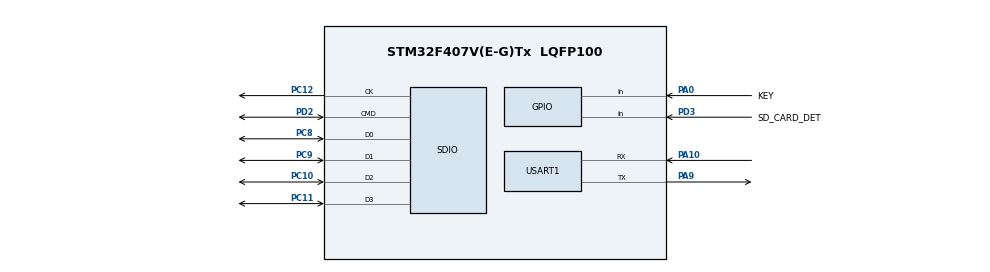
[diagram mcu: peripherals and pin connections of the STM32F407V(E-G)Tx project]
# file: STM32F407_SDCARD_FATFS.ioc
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FATFS.BSP.number=1
FATFS._CODE_PAGE=437
FATFS._MAX_LFN=64
FATFS._USE_LFN=2
FATFS0.BSP.STBoard=false
FATFS0.BSP.api=Unknown
FATFS0.BSP.instance=PD3
FATFS0.BSP.ip=GPIO
FATFS0.BSP.mode=Input
FATFS0.BSP.name=Detect_SDIO
FATFS0.BSP.solution=PD3
Mcu.Family=STM32F4
Mcu.Name=STM32F407V(E-G)Tx
Mcu.Package=LQFP100
NVIC.PriorityGroup=NVIC_PRIORITYGROUP_4
PA0-WKUP.GPIO_Label=KEY
PA0-WKUP.GPIO_PuPd=GPIO_PULLDOWN
PA0-WKUP.Signal=GPIO_Input
PA10.Mode=Asynchronous
PA10.Signal=USART1_RX
PA13.Mode=Serial_Wire
PA13.Signal=SYS_JTMS-SWDIO
PA14.Mode=Serial_Wire
PA14.Signal=SYS_JTCK-SWCLK
PA9.Mode=Asynchronous
PA9.Signal=USART1_TX
PC10.Mode=SD_4_bits_Wide_bus
PC10.Signal=SDIO_D2
PC11.Mode=SD_4_bits_Wide_bus
PC11.Signal=SDIO_D3
PC12.Mode=SD_4_bits_Wide_bus
PC12.Signal=SDIO_CK
PC14-OSC32_IN.Mode=LSE-External-Oscillator
PC14-OSC32_IN.Signal=RCC_OSC32_IN
PC15-OSC32_OUT.Mode=LSE-External-Oscillator
PC15-OSC32_OUT.Signal=RCC_OSC32_OUT
PC8.Mode=SD_4_bits_Wide_bus
PC8.Signal=SDIO_D0
PC9.Mode=SD_4_bits_Wide_bus
PC9.Signal=SDIO_D1
PD2.Mode=SD_4_bits_Wide_bus
PD2.Signal=SDIO_CMD
PD3.GPIO_Label=SD_CARD_DET
PD3.Signal=GPIO_Input
PH0-OSC_IN.Mode=HSE-External-Oscillator
PH0-OSC_IN.Signal=RCC_OSC_IN
PH1-OSC_OUT.Mode=HSE-External-Oscillator
PH1-OSC_OUT.Signal=RCC_OSC_OUT
ProjectManager.HeapSize=0x200
ProjectManager.StackSize=0x1000
ProjectManager.TargetToolchain=MDK-ARM V5.32
RCC.48MHZClocksFreq_Value=48000000
RCC.AHBFreq_Value=168000000
RCC.APB1CLKDivider=RCC_HCLK_DIV4
RCC.APB1Freq_Value=42000000
RCC.APB1TimFreq_Value=84000000
RCC.APB2CLKDivider=RCC_HCLK_DIV2
RCC.APB2Freq_Value=84000000
RCC.APB2TimFreq_Value=168000000
RCC.CortexFreq_Value=168000000
RCC.HCLKFreq_Value=168000000
RCC.HSE_VALUE=8000000
RCC.HSI_VALUE=16000000
RCC.PLLM=4
RCC.PLLN=168
RCC.PLLQ=7
RCC.PLLSourceVirtual=RCC_PLLSOURCE_HSE
RCC.SYSCLKFreq_VALUE=168000000
RCC.SYSCLKSource=RCC_SYSCLKSOURCE_PLLCLK
RCC.VCOOutputFreq_Value=336000000
SDIO.ClockDiv=6
USART1.VirtualMode=VM_ASYNC
VP_FATFS_VS_SDIO.Mode=SDIO
board=custom

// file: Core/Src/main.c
/* USER CODE BEGIN Header */
/**
 ******************************************************************************
 * @file           : main.c
 * @brief          : Main program body
 ******************************************************************************
 * @attention
 *
 * Copyright (c) 2024 STMicroelectronics.
 * All rights reserved.
 *
 * This software is licensed under terms that can be found in the LICENSE file
 * in the root directory of this software component.
 * If no LICENSE file comes with this software, it is provided AS-IS.
 *
 ******************************************************************************
 */
/* USER CODE END Header */
#include "main.h"
#include "fatfs.h"
#include "sdio.h"
#include "usart.h"
#include "gpio.h"

/* USER CODE BEGIN Includes */

#include <string.h>

/* USER CODE END Includes */

void SystemClock_Config( void );

/* USER CODE BEGIN 0 */

uint8_t count = 0;

// FATFS   SDFatFS;        // File system object
FIL     MyFile;         // File object
FRESULT fres;           // FATFS function common result code
char    buffer[ 100 ];  // Buffer for file operations

/* USER CODE END 0 */

int main( void ) {

    /* MCU Configuration--------------------------------------------------------*/

    /* Reset of all peripherals, Initializes the Flash interface and the Systick. */
    HAL_Init();

    /* Configure the system clock */
    SystemClock_Config();

    /* Initialize all configured peripherals */
    MX_GPIO_Init();
    MX_SDIO_SD_Init();
    MX_FATFS_Init();
    MX_USART1_UART_Init();
    /* USER CODE BEGIN 2 */

    HAL_SD_Init( &hsd );  // WARNING 初始化不能省略

    if ( HAL_SD_ConfigWideBusOperation( &hsd, SDIO_BUS_WIDE_4B ) != HAL_OK ) {  // WARNING 先设置1-bit后切换4-bit
        // 设置失败，处理错误
        printf( "切换SDIO_4-bit失败，处理错误\n" );
        Error_Handler();
    }

    uint32_t byteswritten;                                 /* File write counts */
    uint32_t bytesread;                                    /* File read counts */
    uint8_t  wtext[] = "This is STM32 working with FatFs"; /* File write buffer */
    uint8_t  rtext[ 100 ];                                 /* File read buffers */
    char     filename[] = "STM32cube.txt";
    char     SensorBuff[ 100 ];
    printf( "********* STM32CubeMX FatFs Example *********\r\n\r\n" );
    retSD = f_mount( &SDFatFS, SDPath, 1 );
    if ( retSD == FR_OK ) {
        printf( "f_mount sucess!!! \r\n" );
        if ( f_open( &SDFile, filename, FA_CREATE_ALWAYS | FA_WRITE ) == FR_OK ) {  // 创建文件并写入
            printf( "f_open file sucess!!! \r\n" );
            retSD = f_write( &SDFile, wtext, sizeof( wtext ), &byteswritten );  // 向文件写入数据
            if ( retSD == FR_OK ) {
                printf( "f_write file sucess!!! \r\n" );
                printf( "f_write Data : %s\r\n", wtext );

                // 关闭文件
                retSD = f_close( &SDFile );
                if ( retSD )
                    printf( "f_close error!!! %d\r\n", retSD );
                else
                    printf( "f_close sucess!!! \r\n" );
            }
            else
                printf( "f_write file error %d\r\n", retSD );
        }
        else
            printf( "f_open file error\r\n" );
    }
    else
        printf( "f_mount error : %d \r\n", retSD );

    retSD = f_open( &SDFile, filename, FA_READ );
    if ( retSD )
        printf( "f_open file error : %d\r\n", retSD );
    else
        printf( "f_open file sucess!!! \r\n" );

    retSD = f_read( &SDFile, rtext, sizeof( rtext ), ( UINT* )&bytesread );
    if ( retSD )
        printf( "f_read error!!! %d\r\n", retSD );
    else {
        printf( "f_read sucess!!! \r\n" );
        printf( "f_read Data : %s\r\n", rtext );
    }

    // 关闭文件
    retSD = f_close( &SDFile );
    if ( retSD )
        printf( "f_close error!!! %d\r\n", retSD );
    else
        printf( "f_close sucess!!! \r\n" );

    // 读取数据量等于写入数据量
    if ( bytesread == byteswritten )
        printf( "FatFs is working well!!!\r\n" );

    if ( f_open( &SDFile, ( const char* )"Sensor.csv", FA_CREATE_ALWAYS | FA_WRITE ) == FR_OK ) {
        printf( "Sensor.csv was opened/created!!!\r\n" );
        sprintf( SensorBuff, "Item,Temp,Humi,Light\r\n" );
        f_write( &SDFile, SensorBuff, strlen( SensorBuff ), &byteswritten );

        for ( int i = 0; i < 10; i++ ) {
            sprintf( SensorBuff, "%d,%d,%d,%d\r\n", i + 1, i + 20, i + 30, i + 40 );
            f_write( &SDFile, SensorBuff, strlen( SensorBuff ), &byteswritten );
            f_sync( &SDFile );
        }
        f_close( &SDFile );
    }

    /* USER CODE END 2 */

    /* Infinite loop */
    /* USER CODE BEGIN WHILE */
    while ( 1 ) {
        if ( HAL_GPIO_ReadPin( KEY_GPIO_Port, KEY_Pin ) == GPIO_PIN_SET ) {
            HAL_Delay( 50 );
            if ( HAL_GPIO_ReadPin( KEY_GPIO_Port, KEY_Pin ) == GPIO_PIN_SET ) {

                switch ( count ) {
                case 0:
                    SDCard_ShowInfo(); /*显示SD卡的信息*/
                    break;
                case 1:
                    SDCard_EraseBlocks(); /*SD_Card 擦除测试*/
                    break;
                case 2:
                    SDCard_TestWrite(); /*SD_Card 写入测试*/
                    break;
                case 3:
                    SDCard_TestRead(); /*SD_Card 读取测试*/
                    break;

                default:
                    break;
                }

                count = ( ++count ) % 4;

                while ( HAL_GPIO_ReadPin( KEY_GPIO_Port, KEY_Pin ) )
                    ;
            }
        }

        /* USER CODE END WHILE */

    }
}

void SystemClock_Config( void ) {
    RCC_OscInitTypeDef RCC_OscInitStruct = { 0 };
    RCC_ClkInitTypeDef RCC_ClkInitStruct = { 0 };

    /** Configure the main internal regulator output voltage
     */
    __HAL_RCC_PWR_CLK_ENABLE();
    __HAL_PWR_VOLTAGESCALING_CONFIG( PWR_REGULATOR_VOLTAGE_SCALE1 );

    /** Initializes the RCC Oscillators according to the specified parameters
     * in the RCC_OscInitTypeDef structure.
     */
    RCC_OscInitStruct.OscillatorType = RCC_OSCILLATORTYPE_HSE;
    RCC_OscInitStruct.HSEState       = RCC_HSE_ON;
    RCC_OscInitStruct.PLL.PLLState   = RCC_PLL_ON;
    RCC_OscInitStruct.PLL.PLLSource  = RCC_PLLSOURCE_HSE;
    RCC_OscInitStruct.PLL.PLLM       = 4;
    RCC_OscInitStruct.PLL.PLLN       = 168;
    RCC_OscInitStruct.PLL.PLLP       = RCC_PLLP_DIV2;
    RCC_OscInitStruct.PLL.PLLQ       = 7;
    if ( HAL_RCC_OscConfig( &RCC_OscInitStruct ) != HAL_OK ) {
        Error_Handler();
    }

    /** Initializes the CPU, AHB and APB buses clocks
     */
    RCC_ClkInitStruct.ClockType      = RCC_CLOCKTYPE_HCLK | RCC_CLOCKTYPE_SYSCLK | RCC_CLOCKTYPE_PCLK1 | RCC_CLOCKTYPE_PCLK2;
    RCC_ClkInitStruct.SYSCLKSource   = RCC_SYSCLKSOURCE_PLLCLK;
    RCC_ClkInitStruct.AHBCLKDivider  = RCC_SYSCLK_DIV1;
    RCC_ClkInitStruct.APB1CLKDivider = RCC_HCLK_DIV4;
    RCC_ClkInitStruct.APB2CLKDivider = RCC_HCLK_DIV2;

    if ( HAL_RCC_ClockConfig( &RCC_ClkInitStruct, FLASH_LATENCY_5 ) != HAL_OK ) {
        Error_Handler();
    }
}

void Error_Handler( void ) {
    __disable_irq();
    while ( 1 ) {
    }
}
